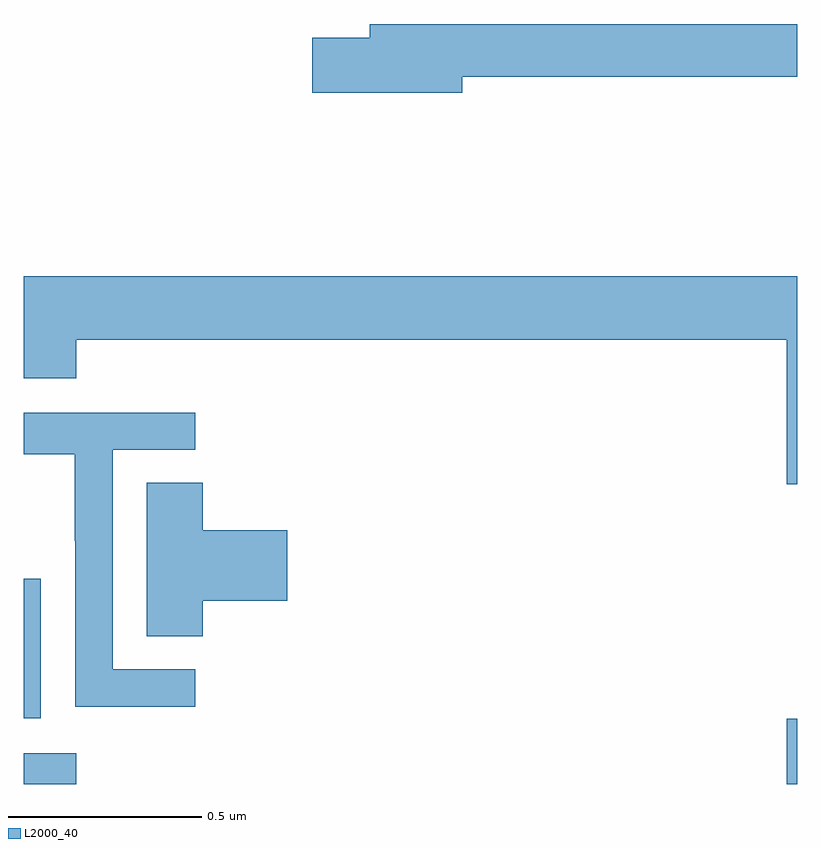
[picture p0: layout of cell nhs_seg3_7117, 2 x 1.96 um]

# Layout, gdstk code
import gdstk
lib = gdstk.Library(unit=1e-6, precision=1e-09)
def R(c, l, rs):  # rectangles x0, y0, x1, y1
    for r in rs: c.add(gdstk.rectangle(r[:2], r[2:], *l))
def P(c, l, *ps):  # polygons
    for p in ps: c.add(gdstk.Polygon(p, *l))
L2000_40 = (2000, 40)

nhs_seg3_7117 = lib.new_cell('nhs_seg3_7117')
R(nhs_seg3_7117, L2000_40, [(199,734.4,199.136,734.479), (200.972,734.4,201,734.569), (199,734.57,199.045,734.931)])
P(nhs_seg3_7117, L2000_40, [(200.134,736.228),(201,736.228),(201,736.364),(199.895,736.364),(199.895,736.328),(199.746,736.328),(199.746,736.186),(200.134,736.186)],
  [(201,735.712),(199,735.712),(199,735.449),(199.136,735.449),(199.136,735.548),(200.972,735.548),(200.972,735.174),(201,735.174)],
  [(199.444,734.697),(199.23,734.697),(199.23,735.264),(199.444,735.264),(199.444,735.36),(199,735.36),(199,735.252),(199.132,735.252),(199.132,735.028),(199.134,735.028),(199.134,734.599),(199.444,734.599)],
  [(199.463,734.873),(199.681,734.873),(199.681,735.056),(199.463,735.056),(199.463,735.179),(199.319,735.179),(199.319,734.782),(199.463,734.782)])

lib.write_gds('nhs_seg3_7117.gds')
